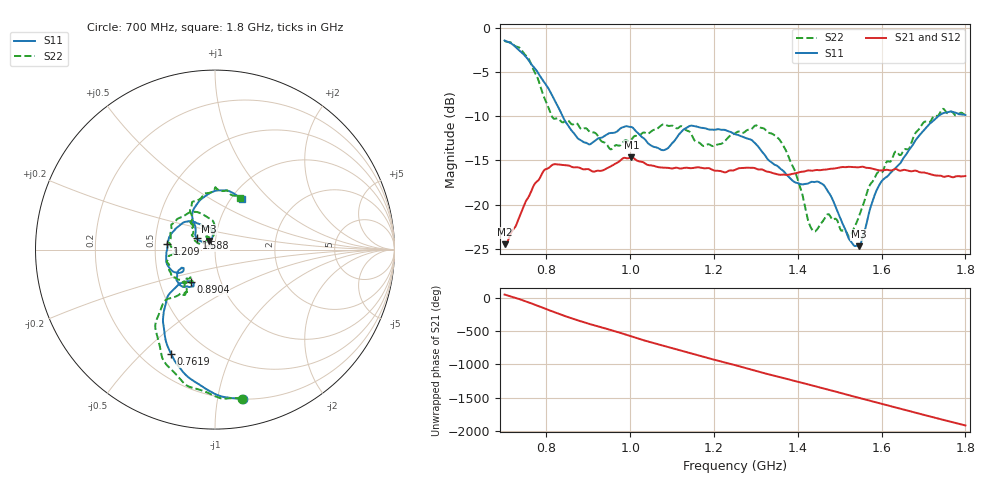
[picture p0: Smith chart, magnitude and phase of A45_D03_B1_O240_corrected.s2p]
! Created with skrf 1.9.0 (http://scikit-rf.org).
# Hz S RI R 50.0
!freq ReS11 ImS11 ReS21 ImS21 ReS12 ImS12 ReS22 ImS22
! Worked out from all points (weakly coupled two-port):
!   1601 points, 700 MHz to 1.8 GHz, reference 50 ohm
!   highest |S21| = -14.66 dB at 1.002 GHz (marker M1); lowest = -24.5 dB at 701.4 MHz (marker M2)
!   lowest |S11| = -24.7 dB at 1.545 GHz (marker M3), VSWR 1.12, Z = 46.6 + j4.45 ohm
!   |S11| at or under -10 dB: 838.5 MHz to 1.735 GHz (896.6 MHz wide, 69.7 % of centre)
!   |S22| runs from -23.6 to -1.5 dB; largest |S21 - S12| = 0.0034
!   S11 on the Smith chart (normalised r, x): 700 MHz: 0.20, -1.19; 761.9 MHz: 0.32, -0.62; 890.4 MHz: 0.72, -0.27; 1.209 GHz: 0.58, +0.04; 1.588 GHz: 0.81, +0.10; 1.8 GHz: 1.13, +0.71
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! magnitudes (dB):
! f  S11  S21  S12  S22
! 700 MHz  -1.4  -24.5  -24.3  -1.5
! 701.4 MHz  -1.5  -24.5  -24.1  -1.5
! 761.9 MHz  -4.0  -18.7  -18.6  -3.9
! 814.8 MHz  -7.8  -15.5  -15.6  -10.2
! 883.6 MHz  -12.8  -15.9  -15.8  -11.5
! 890.4 MHz  -13.0  -16.0  -16.0  -11.4
! 953 MHz  -11.9  -15.7  -15.7  -13.7
! 1.002 GHz  -11.2  -14.7  -14.8  -12.7
! 1.067 GHz  -13.6  -15.8  -15.7  -11.3
! 1.142 GHz  -11.1  -15.9  -15.8  -11.8
! 1.209 GHz  -11.5  -16.2  -16.2  -13.2
! 1.25 GHz  -12.0  -16.1  -16.0  -12.0
! 1.356 GHz  -15.8  -16.6  -16.5  -12.6
! 1.394 GHz  -17.5  -16.5  -16.4  -16.3
! 1.434 GHz  -17.4  -16.2  -16.1  -22.8
! 1.473 GHz  -18.6  -16.0  -16.0  -21.1
! 1.524 GHz  -24.0  -15.7  -15.7  -23.6
! 1.545 GHz  -24.7  -15.8  -15.7  -21.5
! 1.588 GHz  -18.4  -16.1  -16.1  -16.6
! 1.617 GHz  -16.6  -16.1  -16.1  -15.1
! 1.737 GHz  -9.9  -16.7  -16.8  -9.8
! 1.8 GHz  -9.9  -16.8  -16.8  -9.9
